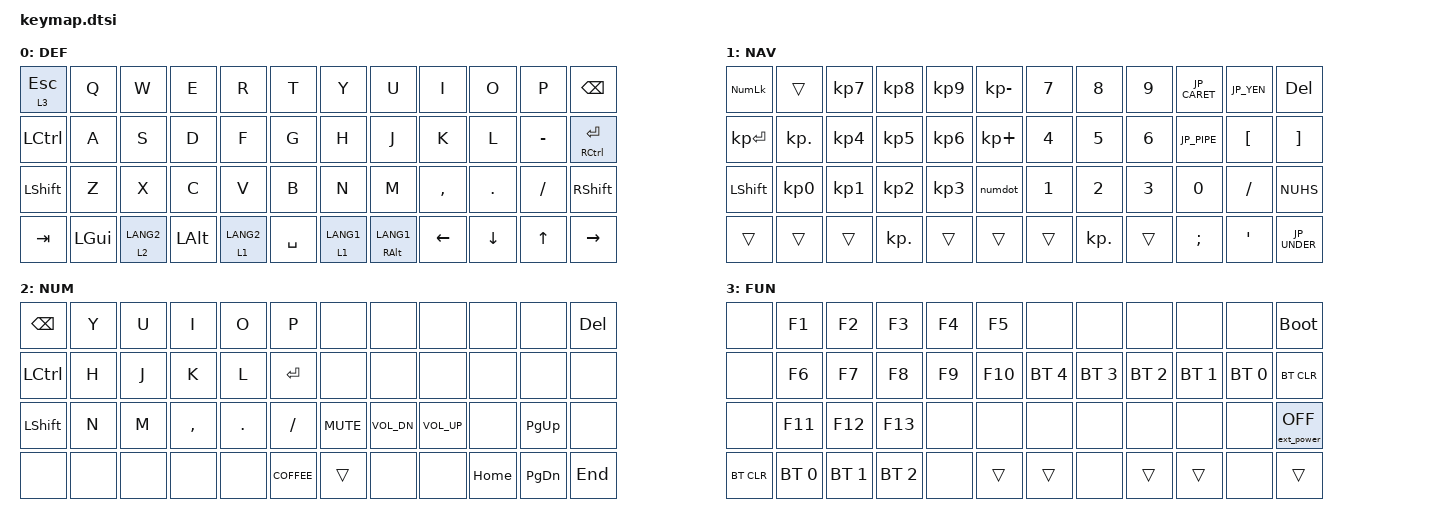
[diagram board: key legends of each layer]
/*
 * Copyright (c) 2020 The ZMK Contributors
 *
 * SPDX-License-Identifier: MIT
 */

#include <dt-bindings/zmk/bt.h>
#include <dt-bindings/zmk/keys.h>
#include <dt-bindings/zmk/mouse.h>
#include <dt-bindings/zmk/outputs.h>

#ifndef KEYMAP_DRAWER
#endif

#define DEF 0
#define NAV 1
#define NUM 2
#define FUN 3

#define CT(KEY) &mt LC(KEY) KEY

#define MEH     LC(LS(LALT))
#define HYPER   LC(LS(LA(LGUI)))

#define U_RDO   LC(DE_Y)
#define U_PST   LC(V)
#define U_PST_P LS(LC(V))
#define U_CPY   LC(C)
#define U_CUT   LC(X)
#define U_UND   LC(DE_Z)

#include "behaviors.dtsi"
#include "combos.dtsi"
#include "macros.dtsi"
#include "mouse.dtsi"

/ {
    conditional_layers {
        compatible = "zmk,conditional-layers";

        tri_layer  {
            if-layers = <NAV NUM>;
            then-layer = <FUN>;
        };
    };

    keymap {
        compatible = "zmk,keymap";

        default_layer {
            display-name = "DEF";
            bindings = <
&lt 3 ESCAPE      &kp Q         &kp W        &kp E         &kp R        &kp T        &kp Y        &kp U               &kp I           &kp O           &kp P         &kp BACKSPACE
&kp LEFT_CONTROL  &kp A         &kp S        &kp D         &kp F        &kp G        &kp H        &kp J               &kp K           &kp L           &kp MINUS     &mt RIGHT_CONTROL RETURN
&kp LEFT_SHIFT    &kp Z         &kp X        &kp C         &kp V        &kp B        &kp N        &kp M               &kp COMMA       &kp DOT         &kp SLASH     &kp RIGHT_SHIFT
&kp TAB           &kp LEFT_GUI  &lt 2 LANG2  &kp LEFT_ALT  &lt 1 LANG2  &kp SPACE    &lt 1 LANG1  &mt RIGHT_ALT LANG1 &kp LEFT_ARROW  &kp DOWN        &kp UP        &kp RIGHT
            >;
        };

        navigation_layer {
            display-name = "NAV";
            bindings = <
&kp KP_NUMLOCK  &trans           &kp KP_NUMBER_7  &kp KP_NUMBER_8  &kp KP_NUMBER_9  &kp KP_MINUS    &kp N7  &kp N8      &kp N9  &kp JP_CARET  &kp JP_YEN  &kp DEL
&kp KP_ENTER    &kp KP_DOT       &kp KP_NUMBER_4  &kp KP_NUMBER_5  &kp KP_NUMBER_6  &kp KP_PLUS     &kp N4  &kp N5      &kp N6  &kp JP_PIPE   &kp LBKT    &kp RBKT
&kp LEFT_SHIFT  &kp KP_NUMBER_0  &kp KP_NUMBER_1  &kp KP_NUMBER_2  &kp KP_NUMBER_3  &numdot         &kp N1  &kp N2      &kp N3  &kp N0        &kp SLASH   &kp NUHS
&trans          &trans           &trans           &kp KP_DOT       &trans           &trans          &trans  &kp KP_DOT  &trans  &kp SEMI      &kp SQT     &kp JP_UNDER
            >;
        };

        number_layer {
            display-name = "NUM";
            bindings = <
&kp BSPC   &kp Y  &kp U  &kp I      &kp O    &kp P           &none       &none         &none         &none     &none      &kp DEL
&kp LCTRL  &kp H  &kp J  &kp K      &kp L    &kp RET         &none       &none         &none         &none     &none      &none
&kp LSHFT  &kp N  &kp M  &kp COMMA  &kp DOT  &kp FSLH        &kp C_MUTE  &kp C_VOL_DN  &kp C_VOL_UP  &none     &kp PG_UP  &none
&none      &none  &none  &none      &none    &kp K_COFFEE    &trans      &none         &none         &kp HOME  &kp PG_DN  &kp END
            >;
        };

        function_layer {
            display-name = "FUN";
            bindings = <
&none       &kp F1        &kp F2        &kp F3        &kp F4  &kp F5     &none         &none         &none         &none         &none         &bootloader
&none       &kp F6        &kp F7        &kp F8        &kp F9  &kp F10    &bt BT_SEL 4  &bt BT_SEL 3  &bt BT_SEL 2  &bt BT_SEL 1  &bt BT_SEL 0  &bt BT_CLR
&none       &kp F11       &kp F12       &kp F13       &none   &none      &none         &none         &none         &none         &none         &ext_power EP_OFF
&bt BT_CLR  &bt BT_SEL 0  &bt BT_SEL 1  &bt BT_SEL 2  &none   &trans     &trans        &none         &trans        &trans        &none         &trans
            >;
        }; 

        extra1 {
            status = "reserved";
        };

        extra2 {
            status = "reserved";
        };
    };
};
